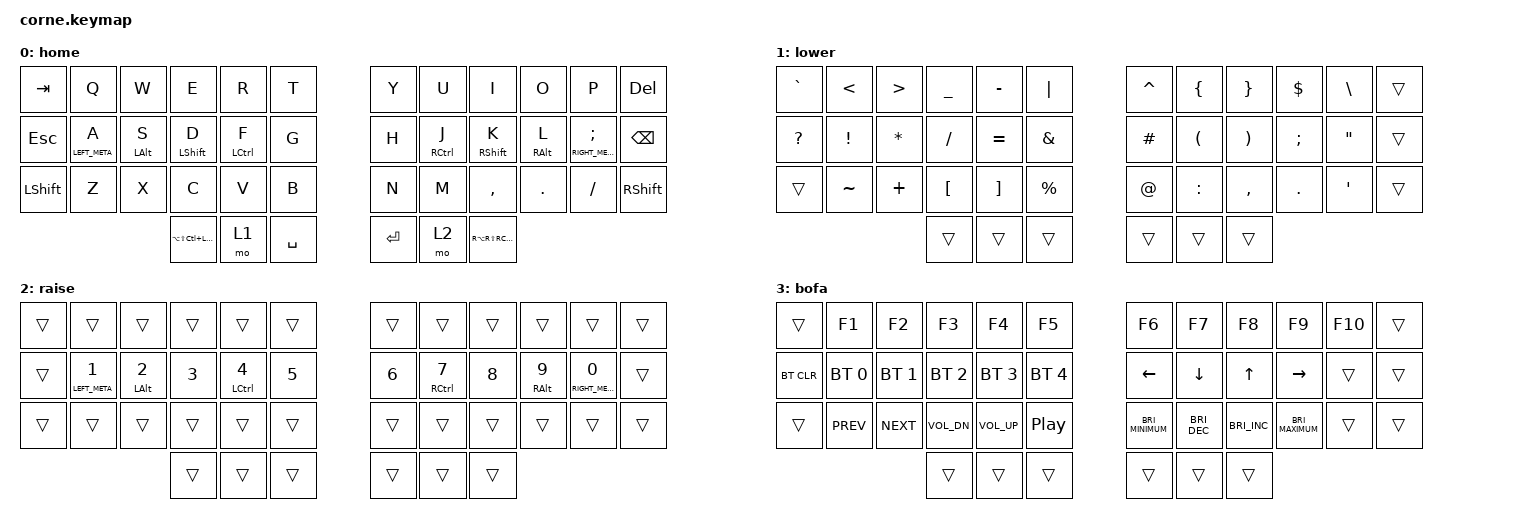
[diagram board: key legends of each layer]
/*
 * Copyright (c) 2020 The ZMK Contributors
 *
 * SPDX-License-Identifier: MIT
 */

#include <behaviors.dtsi>
#include <dt-bindings/zmk/bt.h>
#include <dt-bindings/zmk/keys.h>

/ {
    behaviors {
        hml: homewrow_mods_left {
            compatible = "zmk,behavior-hold-tap";
            label = "HOMEROW_MODS_LEFT_HAND";
            bindings = <&kp>, <&kp>;

            #binding-cells = <2>;
            tapping-term-ms = <190>;
            hold-trigger-key-positions = <32 39 40 41 30 31 20 19 18 6 7 8 10 9 21 22 34 33 35 23 11>;
            flavor = "tap-preferred";
        };

        hmr: homewrow_mods_right {
            compatible = "zmk,behavior-hold-tap";
            label = "HOMEROW_MODS_RIGHT_HAND";
            bindings = <&kp>, <&kp>;

            #binding-cells = <2>;
            tapping-term-ms = <190>;
            hold-trigger-key-positions = <0 1 2 3 4 5 12 13 14 15 16 17 24 25 26 27 28 29 36 37 38>;
            flavor = "tap-preferred";
        };

        hmlq: hmlq {
            compatible = "zmk,behavior-hold-tap";
            label = "HMLQ";
            bindings = <&kp>, <&kp>;

            #binding-cells = <2>;
            tapping-term-ms = <90>;
            hold-trigger-key-positions = <32 39 40 41 30 31 20 19 18 6 7 8 10 9 21 22 34 33 35 23 11>;
            flavor = "tap-preferred";
        };

        hmrq: hmrq {
            compatible = "zmk,behavior-hold-tap";
            label = "HMRQ";
            bindings = <&kp>, <&kp>;

            #binding-cells = <2>;
            tapping-term-ms = <90>;
            hold-trigger-key-positions = <0 1 2 3 4 5 12 13 14 15 16 17 24 25 26 27 28 29 36 37 38>;
            flavor = "tap-preferred";
        };
    };

    keymap {
        compatible = "zmk,keymap";

        home {
            // -----------------------------------------------------------------------------------------
            // |  TAB |  Q  |  W  |  E  |  R  |  T  |   |  Y  |  U   |  I  |  O  |  P  | BSPC |
            // | CTRL |  A  |  S  |  D  |  F  |  G  |   |  H  |  J   |  K  |  L  |  ;  |  '   |
            // | SHFT |  Z  |  X  |  C  |  V  |  B  |   |  N  |  M   |  ,  |  .  |  /  | ESC  |
            //                    | GUI | LWR | SPC |   | ENT | RSE  | ALT |

            bindings = <
&kp TAB    &kp Q             &kp W            &kp E                     &kp R         &kp T        &kp Y    &kp U         &kp I                      &kp O             &kp P                      &kp DELETE
&kp ESC    &hml LEFT_META A  &hml LEFT_ALT S  &hml LEFT_SHIFT D         &hml LCTRL F  &kp G        &kp H    &hmr RCTRL J  &hmr RIGHT_SHIFT K         &hmr RIGHT_ALT L  &hmr RIGHT_META SEMICOLON  &kp BACKSPACE
&kp LSHFT  &kp Z             &kp X            &kp C                     &kp V         &kp B        &kp N    &kp M         &kp COMMA                  &kp DOT           &kp FSLH                   &kp RIGHT_SHIFT
                                              &kp LA(LS(LC(LEFT_GUI)))  &mo 1         &kp SPACE    &kp RET  &mo 2         &kp RA(RS(RC(RIGHT_GUI)))
            >;
        };

        lower {
            // -----------------------------------------------------------------------------------------
            // |  TAB |  1  |  2  |  3  |  4  |  5  |   |  6  |  7  |  8  |  9  |  0  | BSPC |
            // | BTCLR| BT1 | BT2 | BT3 | BT4 | BT5 |   | LFT | DWN |  UP | RGT |     |      |
            // | SHFT |     |     |     |     |     |   |     |     |     |     |     |      |
            //                    | GUI |     | SPC |   | ENT |     | ALT |

            bindings = <
&kp GRAVE     &kp LESS_THAN    &kp GREATER_THAN  &kp UNDERSCORE  &kp MINUS  &kp PIPE         &kp CARET    &kp LEFT_BRACE        &kp RIGHT_BRACE        &kp DOLLAR     &kp BACKSLASH      &trans
&kp QUESTION  &kp EXCLAMATION  &kp ASTERISK      &kp SLASH       &kp EQUAL  &kp AMPERSAND    &kp HASH     &kp LEFT_PARENTHESIS  &kp RIGHT_PARENTHESIS  &kp SEMICOLON  &kp DOUBLE_QUOTES  &trans
&trans        &kp TILDE        &kp PLUS          &kp LBKT        &kp RBKT   &kp PERCENT      &kp AT_SIGN  &kp COLON             &kp COMMA              &kp DOT        &kp SQT            &trans
                                                 &trans          &trans     &trans           &trans       &trans                &trans
            >;
        };

        raise {
            bindings = <
&trans  &trans                   &trans                  &trans        &trans                      &trans          &trans        &trans                       &trans        &trans                   &trans                    &trans
&trans  &hml LEFT_META NUMBER_1  &hml LEFT_ALT NUMBER_2  &kp NUMBER_3  &hml LEFT_CONTROL NUMBER_4  &kp NUMBER_5    &kp NUMBER_6  &hmr RIGHT_CONTROL NUMBER_7  &kp NUMBER_8  &hmr RIGHT_ALT NUMBER_9  &hmr RIGHT_META NUMBER_0  &trans
&trans  &trans                   &trans                  &trans        &trans                      &trans          &trans        &trans                       &trans        &trans                   &trans                    &trans
                                                         &trans        &trans                      &trans          &trans        &trans                       &trans
            >;
        };

        bofa {
            bindings = <
&trans      &kp F1        &kp F2        &kp F3        &kp F4        &kp F5              &kp F6                    &kp F7                &kp F8                &kp F9                    &kp F10  &trans
&bt BT_CLR  &bt BT_SEL 0  &bt BT_SEL 1  &bt BT_SEL 2  &bt BT_SEL 3  &bt BT_SEL 4        &kp LEFT                  &kp DOWN              &kp UP_ARROW          &kp RIGHT_ARROW           &trans   &trans
&trans      &kp C_PREV    &kp C_NEXT    &kp C_VOL_DN  &kp C_VOL_UP  &kp C_PLAY_PAUSE    &kp C_BRIGHTNESS_MINIMUM  &kp C_BRIGHTNESS_DEC  &kp C_BRIGHTNESS_INC  &kp C_BRIGHTNESS_MAXIMUM  &trans   &trans
                                        &trans        &trans        &trans              &trans                    &trans                &trans
            >;
        };
    };

    conditional_layers {
        compatible = "zmk,conditional-layers";

        both {
            if-layers = <1 2>;
            then-layer = <3>;
        };
    };
};
